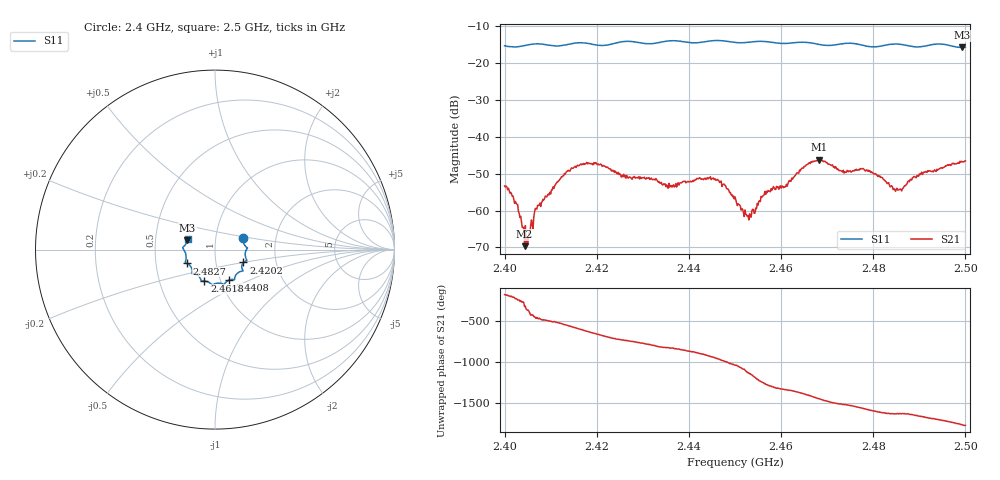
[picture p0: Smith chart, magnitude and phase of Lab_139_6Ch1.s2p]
# Hz S RI R 50
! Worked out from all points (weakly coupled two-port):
!   601 points, 2.4 GHz to 2.5 GHz, reference 50 ohm
!   highest |S21| = -46.23 dB at 2.4682 GHz (marker M1); lowest = -69.7 dB at 2.4043 GHz (marker M2)
!   lowest |S11| = -15.8 dB at 2.4993 GHz (marker M3), VSWR 1.39, Z = 36.5 + j3.86 ohm
!   |S11| at or under -10 dB: start of sweep to end of sweep
!   S12 and S22 are empty: the file has one direction only
!   S11 on the Smith chart (normalised r, x): 2.4 GHz: 1.36, +0.18; 2.4202 GHz: 1.36, -0.20; 2.4408 GHz: 1.10, -0.39; 2.4618 GHz: 0.84, -0.30; 2.4827 GHz: 0.72, -0.11; 2.5 GHz: 0.73, +0.09
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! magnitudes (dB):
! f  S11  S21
! 2.4 GHz  -15.4  -53.3
! 2.4023 GHz  -15.7  -57.5
! 2.4043 GHz  -15.3  -69.7
! 2.4052 GHz  -15.1  -67.5
! 2.407 GHz  -14.8  -59.6
! 2.4118 GHz  -15.4  -51.8
! 2.4167 GHz  -14.5  -47.6
! 2.4202 GHz  -15.2  -47.6
! 2.4333 GHz  -14.5  -52.3
! 2.4408 GHz  -14.6  -51.9
! 2.4465 GHz  -13.9  -51.9
! 2.45 GHz  -14.5  -56.3
! 2.453 GHz  -14.4  -62.6
! 2.4567 GHz  -14.2  -55.6
! 2.4618 GHz  -14.7  -51.8
! 2.4667 GHz  -14.6  -46.9
! 2.4682 GHz  -15.0  -46.2
! 2.4827 GHz  -15.2  -52.1
! 2.4833 GHz  -15.0  -52.4
! 2.4858 GHz  -15.0  -54.2
! 2.4993 GHz  -15.8  -46.8
! 2.5 GHz  -15.7  -46.6
